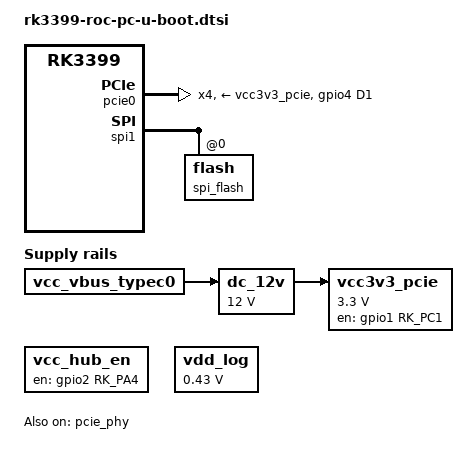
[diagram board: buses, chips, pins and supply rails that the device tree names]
// SPDX-License-Identifier: GPL-2.0+
/*
 * Copyright (C) 2019 Levin Du <djw@t-chip.com.cn>
 */

#include "rk3399-u-boot.dtsi"
#include "rk3399-sdram-lpddr4-100.dtsi"

/ {
	aliases {
		spi0 = &spi1;
	};

	chosen {
		u-boot,spl-boot-order = "same-as-spl", &spi_flash, &sdhci, &sdmmc;
	};

	config {
		u-boot,spl-payload-offset = <0x40000>; /* @ 256KB */
	};

	vcc_hub_en: vcc_hub_en-regulator {
		compatible = "regulator-fixed";
		enable-active-high;
		gpio = <&gpio2 RK_PA4 GPIO_ACTIVE_HIGH>;
		pinctrl-names = "default";
		pinctrl-0 = <&hub_rst>;
		regulator-name = "vcc_hub_en";
		regulator-always-on;
	};

	vcc3v3_pcie: vcc3v3-pcie {
		compatible = "regulator-fixed";
		regulator-name = "vcc3v3_pcie";
		enable-active-high;
		gpio = <&gpio1 RK_PC1 GPIO_ACTIVE_HIGH>;
		pinctrl-names = "default";
		pinctrl-0 = <&vcc3v3_pcie_en>;
		regulator-min-microvolt = <3300000>;
		regulator-max-microvolt = <3300000>;
		vin-supply = <&dc_12v>;
	};
};

/*
 * should be placed inside mp8859, but not until mp8859 has
 * its own dt-binding.
 */
&dc_12v {
	compatible = "regulator-fixed";
	regulator-name = "dc_12v";
	regulator-always-on;
	regulator-boot-on;
	regulator-min-microvolt = <12000000>;
	regulator-max-microvolt = <12000000>;
	vin-supply = <&vcc_vbus_typec0>;
};

&pcie_phy {
	status = "okay";
};

&pcie0 {
	ep-gpios = <&gpio4 RK_PD1 GPIO_ACTIVE_HIGH>;
	num-lanes = <4>;
	pinctrl-names = "default";
	pinctrl-0 = <&pcie_perst>;
	vpcie3v3-supply = <&vcc3v3_pcie>;
	vpcie1v8-supply = <&vcc1v8_pmu>;
	vpcie0v9-supply = <&vcca_0v9>;
	status = "okay";
};

&pinctrl {
	pcie {
		vcc3v3_pcie_en: vcc3v3-pcie-en {
			rockchip,pins = <1 RK_PC1 RK_FUNC_GPIO &pcfg_pull_none>;
		};

		pcie_perst: pcie-perst {
			rockchip,pins = <4 RK_PD1 RK_FUNC_GPIO &pcfg_pull_none>;
		};
	};
};

&spi1 {
	spi_flash: flash@0 {
		u-boot,dm-pre-reloc;
	};
};

&vdd_log {
	regulator-min-microvolt = <430000>;
	regulator-init-microvolt = <950000>;
};

&vcc5v0_host {
	regulator-always-on;
};

&vcc_sys {
	regulator-always-on;
};

&vcc_sdio {
	regulator-always-on;
};
